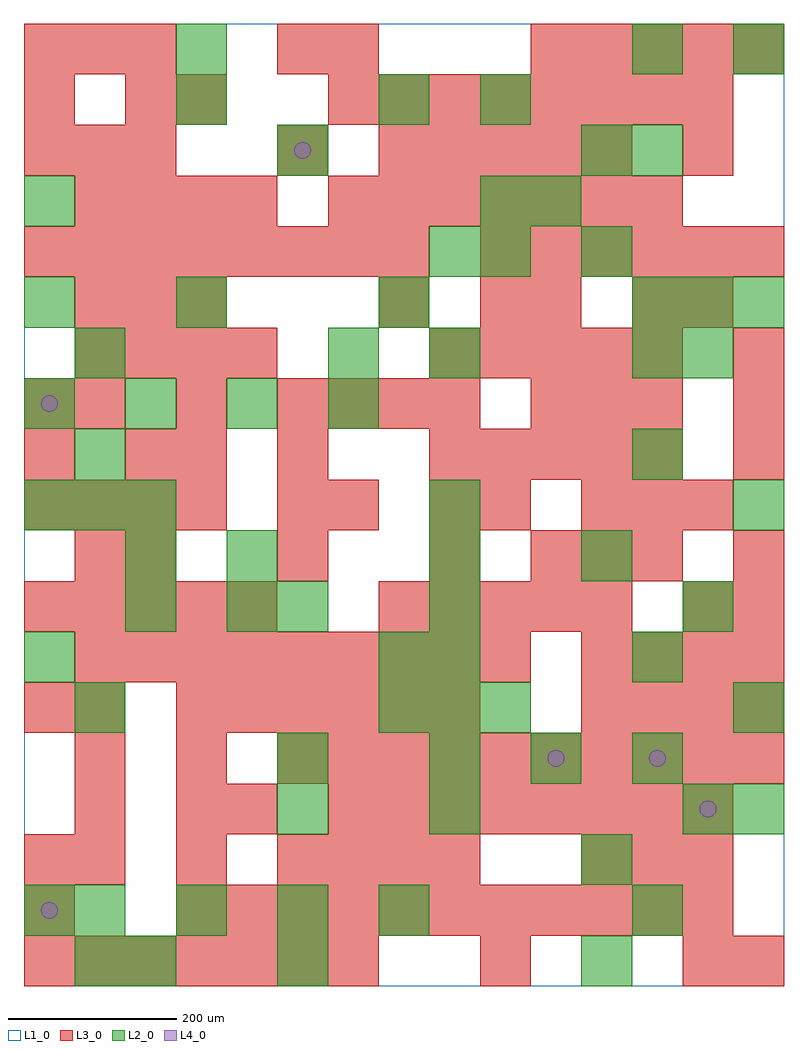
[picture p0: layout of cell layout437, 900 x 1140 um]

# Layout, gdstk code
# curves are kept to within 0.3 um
import gdstk
lib = gdstk.Library(unit=1e-6, precision=1e-09)
def R(c, l, rs):  # rectangles x0, y0, x1, y1
    for r in rs: c.add(gdstk.rectangle(r[:2], r[2:], *l))
def A(c, l, x, y, w, h, nx, ny, dx, dy):  # array of equal rectangles
    R(c, l, [(x+i*dx, y+j*dy, x+i*dx+w, y+j*dy+h) for i in range(nx) for j in range(ny)])
def P(c, l, *ps):  # polygons
    for p in ps: c.add(gdstk.Polygon(p, *l))
L1_0 = (1, 0)
L2_0 = (2, 0)
L3_0 = (3, 0)
L4_0 = (4, 0)

layout437 = lib.new_cell('layout437')
R(layout437, L1_0, [(0,0,900,1140)])
A(layout437, L2_0, 60, 0, 60, 60, 1, 3, 0, 300)
A(layout437, L2_0, 60, 60, 60, 60, 4, 1, 120, 0)
A(layout437, L2_0, 660, 120, 60, 60, 1, 3, 0, 360)
A(layout437, L2_0, 480, 240, 60, 60, 3, 1, 120, 0)
A(layout437, L2_0, 420, 300, 60, 60, 3, 1, 60, 0)
A(layout437, L2_0, 480, 360, 60, 60, 1, 4, 0, 60)
A(layout437, L2_0, 0, 540, 60, 60, 3, 1, 60, 0)
A(layout437, L2_0, 0, 660, 60, 60, 4, 1, 120, 0)
A(layout437, L2_0, 720, 780, 60, 60, 3, 1, 60, 0)
R(layout437, L2_0, [(120,0,180,60), (300,0,360,60), (660,0,720,60), (0,60,60,120), (720,60,780,120), (300,180,360,240), (480,180,540,240), (780,180,840,240), (840,180,900,240), (300,240,360,300), (840,300,900,360), (0,360,60,420), (420,360,480,420), (720,360,780,420), (120,420,180,480), (240,420,300,480), (300,420,360,480), (780,420,840,480), (120,480,180,540), (240,480,300,540), (840,540,900,600), (720,600,780,660), (60,720,120,780), (360,720,420,780), (480,720,540,780), (720,720,780,780), (780,720,840,780), (0,780,60,840), (180,780,240,840), (420,780,480,840), (480,840,540,900), (540,840,600,900), (0,900,60,960), (540,900,600,960), (600,900,660,960), (300,960,360,1020), (660,960,720,1020), (720,960,780,1020), (180,1020,240,1080), (420,1020,480,1080), (540,1020,600,1080), (180,1080,240,1140), (720,1080,780,1140), (840,1080,900,1140)])
A(layout437, L3_0, 0, 0, 60, 60, 7, 1, 60, 0)
A(layout437, L3_0, 180, 60, 60, 60, 11, 1, 60, 0)
A(layout437, L3_0, 60, 120, 60, 60, 3, 2, 120, 120)
A(layout437, L3_0, 360, 120, 60, 60, 3, 2, 60, 540)
A(layout437, L3_0, 660, 120, 60, 60, 3, 2, 60, 420)
A(layout437, L3_0, 180, 180, 60, 60, 1, 3, 0, 420)
A(layout437, L3_0, 360, 180, 60, 60, 8, 2, 60, 840)
A(layout437, L3_0, 360, 240, 60, 60, 9, 1, 60, 0)
A(layout437, L3_0, 180, 300, 60, 60, 6, 1, 60, 0)
A(layout437, L3_0, 660, 300, 60, 60, 4, 2, 60, 60)
A(layout437, L3_0, 60, 360, 60, 60, 9, 1, 60, 0)
A(layout437, L3_0, 0, 420, 60, 60, 5, 1, 60, 0)
A(layout437, L3_0, 420, 420, 60, 60, 5, 2, 60, 540)
A(layout437, L3_0, 120, 480, 60, 60, 3, 1, 180, 0)
A(layout437, L3_0, 600, 480, 60, 60, 3, 2, 60, 180)
A(layout437, L3_0, 0, 540, 60, 60, 4, 1, 60, 0)
A(layout437, L3_0, 480, 600, 60, 60, 5, 2, 60, 120)
A(layout437, L3_0, 840, 600, 60, 60, 1, 3, 0, 60)
A(layout437, L3_0, 60, 660, 60, 60, 3, 1, 120, 0)
A(layout437, L3_0, 60, 720, 60, 60, 4, 2, 60, 180)
A(layout437, L3_0, 60, 780, 60, 60, 3, 1, 60, 0)
A(layout437, L3_0, 0, 840, 60, 60, 8, 1, 60, 0)
A(layout437, L3_0, 540, 840, 60, 60, 6, 1, 60, 0)
A(layout437, L3_0, 360, 900, 60, 60, 7, 1, 60, 0)
A(layout437, L3_0, 0, 960, 60, 60, 3, 2, 60, 120)
A(layout437, L3_0, 600, 1080, 60, 60, 5, 1, 60, 0)
R(layout437, L3_0, [(540,0,600,60), (780,0,840,60), (840,0,900,60), (0,60,60,120), (0,120,60,180), (60,180,120,240), (240,180,300,240), (0,300,60,360), (60,300,120,360), (780,420,840,480), (840,420,900,480), (60,480,120,540), (840,480,900,540), (300,540,360,600), (360,540,420,600), (480,540,540,600), (540,540,600,600), (0,600,60,660), (120,600,180,660), (300,600,360,660), (0,660,60,720), (420,780,480,840), (540,780,600,840), (600,780,660,840), (720,780,780,840), (780,780,840,840), (300,960,360,1020), (780,960,840,1020), (0,1020,60,1080), (120,1020,180,1080), (300,1080,360,1140), (360,1080,420,1140)])
P(layout437, L4_0, [(40,90),(39.239,93.827),(37.071,97.071),(33.827,99.239),(30,100),(26.173,99.239),(22.929,97.071),(20.761,93.827),(20,90),(20.761,86.173),(22.929,82.929),(26.173,80.761),(30,80),(33.827,80.761),(37.071,82.929),(39.239,86.173)],
  [(40,690),(39.239,693.827),(37.071,697.071),(33.827,699.239),(30,700),(26.173,699.239),(22.929,697.071),(20.761,693.827),(20,690),(20.761,686.173),(22.929,682.929),(26.173,680.761),(30,680),(33.827,680.761),(37.071,682.929),(39.239,686.173)],
  [(340,990),(339.239,993.827),(337.071,997.071),(333.827,999.239),(330,1000),(326.173,999.239),(322.929,997.071),(320.761,993.827),(320,990),(320.761,986.173),(322.929,982.929),(326.173,980.761),(330,980),(333.827,980.761),(337.071,982.929),(339.239,986.173)],
  [(640,270),(639.239,273.827),(637.071,277.071),(633.827,279.239),(630,280),(626.173,279.239),(622.929,277.071),(620.761,273.827),(620,270),(620.761,266.173),(622.929,262.929),(626.173,260.761),(630,260),(633.827,260.761),(637.071,262.929),(639.239,266.173)],
  [(760,270),(759.239,273.827),(757.071,277.071),(753.827,279.239),(750,280),(746.173,279.239),(742.929,277.071),(740.761,273.827),(740,270),(740.761,266.173),(742.929,262.929),(746.173,260.761),(750,260),(753.827,260.761),(757.071,262.929),(759.239,266.173)],
  [(820,210),(819.239,213.827),(817.071,217.071),(813.827,219.239),(810,220),(806.173,219.239),(802.929,217.071),(800.761,213.827),(800,210),(800.761,206.173),(802.929,202.929),(806.173,200.761),(810,200),(813.827,200.761),(817.071,202.929),(819.239,206.173)])

lib.write_gds('layout437.gds')
